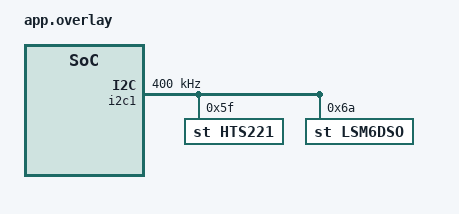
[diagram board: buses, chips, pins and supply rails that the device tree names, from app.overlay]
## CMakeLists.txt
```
cmake_minimum_required(VERSION 3.20.0)
find_package(Zephyr REQUIRED HINTS $ENV{ZEPHYR_BASE})

set(SHIELD x_nucleo_iks01a3)


project(test_semaphore)


FILE(GLOB app_sources src/*.c)
target_sources(app PRIVATE src/main.c)
```

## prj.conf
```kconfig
# GPIO and logging
CONFIG_GPIO=y
CONFIG_PRINTK=y
CONFIG_LOG=y
CONFIG_STDOUT_CONSOLE=y

# System configuration
CONFIG_SYSTEM_WORKQUEUE_STACK_SIZE=4096
CONFIG_TIMESLICING=y
CONFIG_TIMESLICE_SIZE=10
CONFIG_TIMESLICE_PRIORITY=4

# I2C and sensors
CONFIG_I2C=y
CONFIG_I2C_NRFX=y
CONFIG_SENSOR=y
CONFIG_SENSOR_LOG_LEVEL_DBG=y
CONFIG_HTS221=y
CONFIG_HTS221_TRIGGER_NONE=y
CONFIG_LIS2MDL=y
CONFIG_LIS2DW12=y
CONFIG_LSM6DSO=y
CONFIG_LSM6DSO_TRIGGER_NONE=y
CONFIG_LPS22HH=n
CONFIG_STTS751=n


# Bluetooth configurations
CONFIG_BT=y
CONFIG_BT_HCI=y
CONFIG_BT_PERIPHERAL=y
CONFIG_BT_DIS=y
CONFIG_BT_PRIVACY=y
CONFIG_BT_DEVICE_NAME="Bluetooth Windaube"
CONFIG_BT_DEVICE_NAME_DYNAMIC=y
CONFIG_BT_DEVICE_NAME_MAX=65

CONFIG_NCS_SAMPLES_DEFAULTS=y

# Security and settings
CONFIG_BT_SMP=y
CONFIG_BT_SIGNING=y
CONFIG_BT_KEYS_OVERWRITE_OLDEST=y
CONFIG_BT_SETTINGS=y

# Flash and settings storage
CONFIG_FLASH=y
CONFIG_FLASH_MAP=y
CONFIG_NVS=y
CONFIG_SETTINGS=y
```

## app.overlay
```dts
/*
 * Copyright (c) 2024 STMicroelectronics
 *
 * SPDX-License-Identifier: Apache-2.0
 */

/*
 * Sensors declared here are possibly present on DIL24
 */
/*
&arduino_i2c {
	status = "okay";

	lis2de18_18_x_nucleo_iks01a3: lis2de12@18 {
		compatible = "st,lis2de12";
		reg = <0x18>;
		int1-gpios =  <&arduino_header 5 GPIO_ACTIVE_HIGH>; //A5 
	};

};
*/
&i2c1 {
    status = "okay";
    clock-frequency = <400000>;
    
    hts221: hts221@5f {
        compatible = "st,hts221";
        reg = <0x5f>;
        status = "okay";
    };

    lsm6dso: lsm6dso@6a {
        compatible = "st,lsm6dso";
        reg = <0x6a>;
        status = "okay";
    };
};
```

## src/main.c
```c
/*
 * Copyright (c) 2016 Intel Corporation
 *
 * SPDX-License-Identifier: Apache-2.0
 */

#include <zephyr/kernel.h>
#include <zephyr/device.h>
#include <zephyr/devicetree.h>
#include <zephyr/drivers/gpio.h>
#include <zephyr/drivers/sensor.h>
#include <zephyr/sys/printk.h>
#include <zephyr/sys/util.h>
#include <zephyr/bluetooth/bluetooth.h>
#include "capteurs.h"

#define STACK_SIZE 2048

#define PRIORITY_task_ME 4
#define PRIORITY_task_ME_ecran 2
#define PRIORITY_task_set_Horodate 3
#define PRIORITY_task_update_capteur 1
#define PRIORITY_task_bluetooth 5

////////////////////////////////////////////////////////////////////////////////////
////						  Peripheral instantiation 							////
////////////////////////////////////////////////////////////////////////////////////

/* Definition des périphériques GPIO pour les LEDs */
#define LED0_NODE DT_ALIAS(led0)
#define LED1_NODE DT_ALIAS(led1)
#define LED2_NODE DT_ALIAS(led2)
#define LED3_NODE DT_ALIAS(led3)

static const struct gpio_dt_spec led_0 = GPIO_DT_SPEC_GET(LED0_NODE, gpios);
static const struct gpio_dt_spec led_1 = GPIO_DT_SPEC_GET(LED1_NODE, gpios);
static const struct gpio_dt_spec led_2 = GPIO_DT_SPEC_GET(LED2_NODE, gpios);
static const struct gpio_dt_spec led_3 = GPIO_DT_SPEC_GET(LED3_NODE, gpios);

/* Déclaration des capteurs */
const struct device *const hts221 = DEVICE_DT_GET_ANY(st_hts221);
const struct device *const lis2mdl = DEVICE_DT_GET_ANY(st_lis2mdl);
const struct device *const lis2dw12 = DEVICE_DT_GET_ANY(st_lis2dw12);
const struct device *const lsm6dso = DEVICE_DT_GET_ANY(st_lsm6dso);

/* Variables globales */
volatile int flag_transmition_bluetooth = 0;

/* Sémaphores */
struct k_sem semaphore_I2C;
struct k_sem semaphore_ecriture_lecture;
struct k_sem semaphore_task_set_Horodate;
struct k_sem semaphore_ME_ecran;
struct k_sem semaphore_update_capteur;
struct k_sem semaphore_bluetooth;

/* Stacks et threads */
K_THREAD_STACK_DEFINE(thread_stack_area_update_capteur, STACK_SIZE);
K_THREAD_STACK_DEFINE(thread_stack_area_bluetooth, STACK_SIZE);
static struct k_thread thread_task_update_capteur, thread_task_bluetooth;

////////////////////////////////////////////////////////////////////////////////////
////						   Fonction Bluetooth									////
////////////////////////////////////////////////////////////////////////////////////

void init_bluetooth(void)
{
    int err = bt_enable(NULL);
    if (err) {
        printk("Bluetooth init failed (err %d)\n", err);
        return;
    }
    printk("Bluetooth initialized\n");
}

////////////////////////////////////////////////////////////////////////////////////
////						   Tâches												////
////////////////////////////////////////////////////////////////////////////////////

/* Tâche pour mettre à jour les capteurs */
void task_update_capteur()
{
    while (1) {
        k_sem_take(&semaphore_update_capteur, K_FOREVER);

        k_sem_take(&semaphore_I2C, K_FOREVER);
        k_sem_take(&semaphore_ecriture_lecture, K_FOREVER);

        if (sensor_sample_fetch(hts221) == 0) {
            struct sensor_value temp, hum;
            sensor_channel_get(hts221, SENSOR_CHAN_AMBIENT_TEMP, &temp);
            sensor_channel_get(hts221, SENSOR_CHAN_HUMIDITY, &hum);

            printk("HTS221: Temperature: %.1f C, Humidity: %.1f%%\n",
                   sensor_value_to_double(&temp), sensor_value_to_double(&hum));
        } else {
            printk("Failed to fetch data from HTS221\n");
        }

        k_sem_give(&semaphore_I2C);
        k_sem_give(&semaphore_ecriture_lecture);

        k_yield();
    }
}

/* Tâche Bluetooth */
void task_bluetooth()
{
    init_bluetooth();

    while (1) {
        k_sem_take(&semaphore_bluetooth, K_FOREVER);

        if (flag_transmition_bluetooth == 1) {
            k_sem_take(&semaphore_ecriture_lecture, K_FOREVER);

            printk("Bluetooth transmission - Data sent\n");

            k_sem_give(&semaphore_ecriture_lecture);

            if (flag_transmition_bluetooth == 1) {
                k_sem_give(&semaphore_bluetooth);
            }

            k_yield();
        } else {
            printk("Bluetooth task yielding to scheduler.\n");
            k_yield();
        }
    }
}

////////////////////////////////////////////////////////////////////////////////////
////						   Fonction principale								////
////////////////////////////////////////////////////////////////////////////////////

int main(void)
{
    printk("Starting application\n");

    // Initialisation des LEDs
    if (!gpio_is_ready_dt(&led_0) || gpio_pin_configure_dt(&led_0, GPIO_OUTPUT_ACTIVE) < 0) {
        printk("Failed to initialize LED 0\n");
        return 0;
    }
    if (!gpio_is_ready_dt(&led_1) || gpio_pin_configure_dt(&led_1, GPIO_OUTPUT_ACTIVE) < 0) {
        printk("Failed to initialize LED 1\n");
        return 0;
    }
    if (!gpio_is_ready_dt(&led_2) || gpio_pin_configure_dt(&led_2, GPIO_OUTPUT_ACTIVE) < 0) {
        printk("Failed to initialize LED 2\n");
        return 0;
    }
    if (!gpio_is_ready_dt(&led_3) || gpio_pin_configure_dt(&led_3, GPIO_OUTPUT_ACTIVE) < 0) {
        printk("Failed to initialize LED 3\n");
        return 0;
    }

    // Vérification des capteurs
    if (!device_is_ready(hts221)) {
        printk("HTS221: device not ready. Check I2C connection or device tree configuration.\n");
        return 0;
    }
    if (!device_is_ready(lis2mdl)) {
        printk("%s: device not ready.\n", lis2mdl->name);
        return 0;
    }
    if (!device_is_ready(lis2dw12)) {
        printk("%s: device not ready.\n", lis2dw12->name);
        return 0;
    }
    if (!device_is_ready(lsm6dso)) {
        printk("LSM6DSO: device not ready. Check I2C connection or device tree configuration.\n");
        return 0;
    }

    // Configuration des capteurs
    lis2mdl_config(lis2mdl);
    lis2dw12_config(lis2dw12);
    lsm6dso_config(lsm6dso);

    // Initialisation des sémaphores
    k_sem_init(&semaphore_I2C, 1, 1);
    k_sem_init(&semaphore_ecriture_lecture, 1, 1);
    k_sem_init(&semaphore_task_set_Horodate, 1, 1);
    k_sem_init(&semaphore_ME_ecran, 0, 1);
    k_sem_init(&semaphore_update_capteur, 0, 1);
    k_sem_init(&semaphore_bluetooth, 0, 1);

    // Test des capteurs
    k_sem_give(&semaphore_update_capteur);

    // Création des tâches
    k_thread_create(&thread_task_update_capteur, thread_stack_area_update_capteur,
                    K_THREAD_STACK_SIZEOF(thread_stack_area_update_capteur),
                    task_update_capteur,
                    NULL, NULL, NULL,
                    PRIORITY_task_update_capteur, 0, K_NO_WAIT);

    k_thread_create(&thread_task_bluetooth, thread_stack_area_bluetooth,
                    K_THREAD_STACK_SIZEOF(thread_stack_area_bluetooth),
                    task_bluetooth,
                    NULL, NULL, NULL,
                    PRIORITY_task_bluetooth, 0, K_NO_WAIT);

    // Démarrage des tâches
    k_thread_start(&thread_task_update_capteur);
    k_thread_start(&thread_task_bluetooth);

    return 0;
}
```

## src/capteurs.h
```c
/*
 * Copyright (c) 2019 STMicroelectronics
 *
 * SPDX-License-Identifier: Apache-2.0
 */

#include <zephyr/kernel.h>
#include <zephyr/device.h>
#include <zephyr/devicetree.h>
#include <zephyr/drivers/sensor.h>
#include <stdio.h>
#include <zephyr/sys/util.h>
#include <math.h>


// Variables globales
double accel_totale = 0;
double distance = 0;
double vitesse = 0; // Vitesse cumulée
double previous_time = 0;
uint32_t current_time = 0;
uint32_t previous_timestamp = 0;
int cnt = 0;

#ifdef CONFIG_LIS2DW12_TRIGGER
static int lis2dw12_trig_cnt;

static void lis2dw12_trigger_handler(const struct device *dev,
				     const struct sensor_trigger *trig)
{
	sensor_sample_fetch_chan(dev, SENSOR_CHAN_ACCEL_XYZ);
	lis2dw12_trig_cnt++;
}
#endif

#ifdef CONFIG_LSM6DSO_TRIGGER
static int lsm6dso_acc_trig_cnt;
static int lsm6dso_gyr_trig_cnt;
static int lsm6dso_temp_trig_cnt;

static void lsm6dso_acc_trig_handler(const struct device *dev,
				     const struct sensor_trigger *trig)
{
	sensor_sample_fetch_chan(dev, SENSOR_CHAN_ACCEL_XYZ);
	lsm6dso_acc_trig_cnt++;
}

static void lsm6dso_gyr_trig_handler(const struct device *dev,
				     const struct sensor_trigger *trig)
{
	sensor_sample_fetch_chan(dev, SENSOR_CHAN_GYRO_XYZ);
	lsm6dso_gyr_trig_cnt++;
}

static void lsm6dso_temp_trig_handler(const struct device *dev,
				      const struct sensor_trigger *trig)
{
	sensor_sample_fetch_chan(dev, SENSOR_CHAN_DIE_TEMP);
	lsm6dso_temp_trig_cnt++;
}
#endif


static void lis2mdl_config(const struct device *lis2mdl)
{
	struct sensor_value odr_attr;

	/* set LIS2MDL sampling frequency to 100 Hz */
	odr_attr.val1 = 100;
	odr_attr.val2 = 0;   

	if (sensor_attr_set(lis2mdl, SENSOR_CHAN_ALL,
			    SENSOR_ATTR_SAMPLING_FREQUENCY, &odr_attr) < 0) {
		printk("Cannot set sampling frequency for LIS2MDL\n");
		return;
	}

}


static void lis2dw12_config(const struct device *lis2dw12)
{
	struct sensor_value odr_attr, fs_attr;

	/* set LIS2DW12 accel/gyro sampling frequency to 100 Hz */
	odr_attr.val1 = 100;
	odr_attr.val2 = 0;

	if (sensor_attr_set(lis2dw12, SENSOR_CHAN_ACCEL_XYZ,
			    SENSOR_ATTR_SAMPLING_FREQUENCY, &odr_attr) < 0) {
		printk("Cannot set sampling frequency for LIS2DW12 accel\n");
		return;
	}

	sensor_g_to_ms2(16, &fs_attr);

	if (sensor_attr_set(lis2dw12, SENSOR_CHAN_ACCEL_XYZ,
			    SENSOR_ATTR_FULL_SCALE, &fs_attr) < 0) {
		printk("Cannot set sampling frequency for LIS2DW12 gyro\n");
		return;
	}

#ifdef CONFIG_LIS2DW12_TRIGGER
	struct sensor_trigger trig;

	trig.type = SENSOR_TRIG_DATA_READY;
	trig.chan = SENSOR_CHAN_ACCEL_XYZ;
	sensor_trigger_set(lis2dw12, &trig, lis2dw12_trigger_handler);
#endif
}

static void lsm6dso_config(const struct device *lsm6dso)
{
    struct sensor_value odr_attr, fs_attr;

    /* Set LSM6DSO accel sampling frequency to 208 Hz */
    odr_attr.val1 = 208;
    odr_attr.val2 = 0;

    if (sensor_attr_set(lsm6dso, SENSOR_CHAN_ACCEL_XYZ,
                        SENSOR_ATTR_SAMPLING_FREQUENCY, &odr_attr) < 0) {
        printk("Cannot set sampling frequency for LSM6DSO accel\n");
        return;
    }

    sensor_g_to_ms2(16, &fs_attr);

    if (sensor_attr_set(lsm6dso, SENSOR_CHAN_ACCEL_XYZ,
                        SENSOR_ATTR_FULL_SCALE, &fs_attr) < 0) {
        printk("Cannot set full scale for LSM6DSO accel\n");
        return;
    }

    /* Set LSM6DSO gyro sampling frequency to 208 Hz */
    odr_attr.val1 = 208;
    odr_attr.val2 = 0;

    if (sensor_attr_set(lsm6dso, SENSOR_CHAN_GYRO_XYZ,
                        SENSOR_ATTR_SAMPLING_FREQUENCY, &odr_attr) < 0) {
        printk("Cannot set sampling frequency for LSM6DSO gyro\n");
        return;
    }

    sensor_degrees_to_rad(250, &fs_attr);

    if (sensor_attr_set(lsm6dso, SENSOR_CHAN_GYRO_XYZ,
                        SENSOR_ATTR_FULL_SCALE, &fs_attr) < 0) {
        printk("Cannot set full scale for LSM6DSO gyro\n");
        return;
    }
}

#ifdef CONFIG_LSM6DSO_TRIGGER
	struct sensor_trigger trig;

	trig.type = SENSOR_TRIG_DATA_READY;
	trig.chan = SENSOR_CHAN_ACCEL_XYZ;
	sensor_trigger_set(lsm6dso, &trig, lsm6dso_acc_trig_handler);

	trig.type = SENSOR_TRIG_DATA_READY;
	trig.chan = SENSOR_CHAN_GYRO_XYZ;
	sensor_trigger_set(lsm6dso, &trig, lsm6dso_gyr_trig_handler);

	trig.type = SENSOR_TRIG_DATA_READY;
	trig.chan = SENSOR_CHAN_DIE_TEMP;
	sensor_trigger_set(lsm6dso, &trig, lsm6dso_temp_trig_handler);
#endif
```
